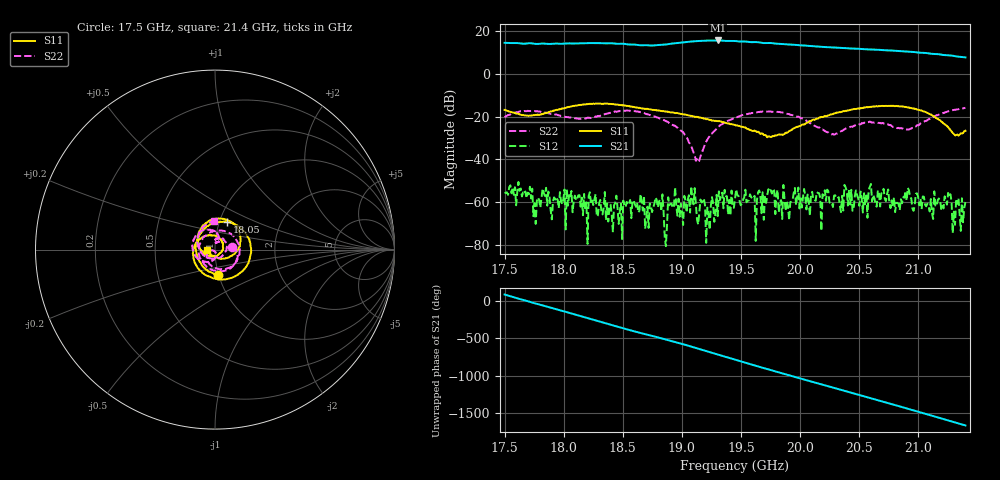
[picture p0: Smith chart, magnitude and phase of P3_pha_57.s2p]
!Created with skrf (http://scikit-rf.org).
# GHz S RI R 50.0
!freq ReS11 ImS11 ReS21 ImS21 ReS12 ImS12 ReS22 ImS22
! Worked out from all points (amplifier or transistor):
!   401 points, 17.5 GHz to 21.4 GHz, reference 50 ohm
!   highest |S21| = 15.6 dB at 19.3 GHz (marker M1)
!   |S21| within 3 dB of that: start of sweep to 20.19 GHz
!   unconditionally stable (mu >= 1): start of sweep to end of sweep
!   at 18.14 GHz: K = 117.91, MAG = 14.5 dB, |S12| = -62.1 dB
!   at 19.45 GHz: K = 71.87, MAG = 15.4 dB, |S12| = -58.6 dB
!   at 21.4 GHz: K = 199.36, MAG = 7.8 dB, |S12| = -60.0 dB
!   S11 on the Smith chart (normalised r, x): 17.5 GHz: 1.00, -0.29; 18.05 GHz: 1.09, +0.35; 21.4 GHz: 0.91, -0.00
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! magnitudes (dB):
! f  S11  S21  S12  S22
! 17.5 GHz  -16.8  14.5  -55.4  -20.2
! 17.71 GHz  -19.5  14.3  -52.8  -17.4
! 17.76 GHz  -19.2  14.0  -70.2  -17.5
! 17.83 GHz  -18.6  14.2  -55.8  -17.9
! 17.91 GHz  -17.2  14.1  -59.6  -18.9
! 18.05 GHz  -15.4  14.3  -56.7  -20.4
! 18.15 GHz  -14.5  14.3  -57.9  -20.8
! 18.48 GHz  -14.6  14.1  -64.1  -17.4
! 18.81 GHz  -17.2  13.5  -59.7  -20.7
! 18.86 GHz  -17.6  13.7  -80.6  -22.1
! 18.92 GHz  -18.0  14.2  -62.8  -23.9
! 19.1 GHz  -19.9  15.2  -61.0  -36.8
! 19.14 GHz  -20.3  15.4  -70.5  -41.2
! 19.18 GHz  -20.8  15.5  -59.6  -35.7
! 19.23 GHz  -21.3  15.6  -65.5  -29.9
! 19.3 GHz  -22.1  15.6  -66.5  -25.2
! 19.45 GHz  -23.9  15.4  -58.6  -20.7
! 19.74 GHz  -29.3  14.5  -55.2  -17.6
! 19.9 GHz  -27.3  13.8  -62.2  -18.8
! 20.1 GHz  -21.6  13.0  -55.2  -23.6
! 20.76 GHz  -15.0  11.0  -60.3  -24.0
! 21.4 GHz  -26.6  7.7  -60.0  -15.9
